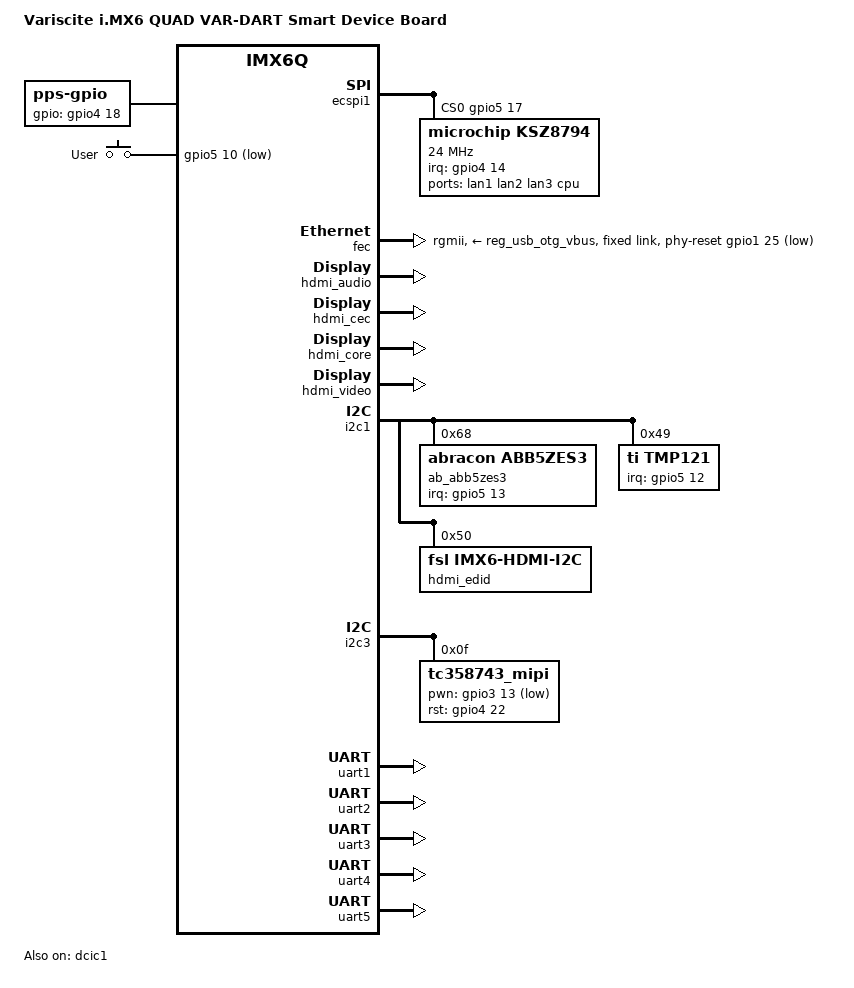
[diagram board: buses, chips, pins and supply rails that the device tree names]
/*
 * Copyright (C) 2015-2017 Variscite Ltd.
 *
 * This program is free software; you can redistribute it and/or modify
 * it under the terms of the GNU General Public License version 2 as
 * published by the Free Software Foundation.
 */

/dts-v1/;

#include "imx6q.dtsi"
#include "imx6qdl-nightcrawler.dtsi"

/ {
	model = "Variscite i.MX6 QUAD VAR-DART Smart Device Board";
	compatible = "fsl,imx6q-var-dart", "fsl,imx6q";

	sound-hdmi {
		compatible = "fsl,imx6q-audio-hdmi",
		             "fsl,imx-audio-hdmi";
		model = "imx-audio-hdmi";
		hdmi-controller = <&hdmi_audio>;
	};

	pps {
		compatible = "pps-gpio";
		pinctrl-names = "default";
		pinctrl-0 = <&pinctrl_pps>;
		gpios = <&gpio4 18 GPIO_ACTIVE_HIGH>;
		status = "okay";
	};

	mxcfb2 { /* hdmi - available on R0 */
		status = "okay";
	};

        gpio-keys {
                compatible = "gpio-keys";

                /* GPIO_4 */
                user {
                        label = "User";
                        gpios = <&gpio5 10 1>;  /* NB: required for ECSPI1 to function (see issue #3) */
                        linux,code = <BTN_MISC>;
                        gpio-key,wakeup;
                };
        };

};

&iomuxc {
	imx6qdl-var-som-mx6 {
		pinctrl_pps: ppsgrp {
			fsl,pins = <
				MX6QDL_PAD_DI0_PIN2__GPIO4_IO18	0x1b0b1	/* 100K PU, HYS, KEEPER, FAST */
			>;
		};
	};
};

&cpu0 {
	operating-points = <
		/* kHz    uV */
		1200000	1350000
		996000	1250000
		852000	1250000
		792000	1175000
		396000	1175000
	>;
	fsl,soc-operating-points = <
		/* ARM kHz  SOC-PU uV */
		1200000	1275000
		996000	1250000
		852000	1250000
		792000	1250000
		396000	1250000
	>;
};

&dcic1 {
	dcic_id = <0>;
	dcic_mux = "dcic-hdmi";
	status = "okay";
};

&ecspi1 {
	fsl,spi-num-chipselects = <1>;
	cs-gpios = <&gpio5 17 0>;
	pinctrl-names = "default";
	pinctrl-0 = <&pinctrl_ecspi1>;
	status = "okay";

	ksz8794: ksz8794@0 {
		compatible = "microchip,ksz8794";
		reg = <0>;
		spi-max-frequency = <24000000>;
		spi-cpha;
		spi-cpol;
		interrupt-parent = <&gpio4>;
		interrupts = <14 IRQ_TYPE_LEVEL_LOW>;
		status = "okay";

		ports {
			#address-cells = <1>;
			#size-cells = <0>;
			port@0 {
				reg = <0>;
				label = "lan1";
			};
			port@1 {
				reg = <1>;
				label = "lan2";
			};
			port@2 {
				reg = <2>;
				label = "lan3";
			};
			port@3 {
				reg = <3>;
				label = "cpu";
				fixed-link {
					speed = <1000>;
					full-duplex;
				};
			};
		};
	};
};

&fec {
	pinctrl-names = "default";
	pinctrl-0 = <&pinctrl_enet>;
	phy-mode = "rgmii";
	phy-reset-gpios = <&gpio1 25 0>;
	phy-reset-duration = <10>;
	phy-reset-post-delay = <100>;
	phy-supply = <&reg_usb_otg_vbus>;
	fsl,magic-packet;
	status = "okay";

	fixed-link {
		speed = <1000>;
		full-duplex;
	};
};

&hdmi_audio {
	status = "okay";
};

&hdmi_cec {
	pinctrl-names = "default";
	pinctrl-0 = <&pinctrl_hdmi_cec>;
	status = "okay";
};

&hdmi_core {
	ipu_id = <0>;
	disp_id = <0>;
	status = "okay";
};

&hdmi_video {
	fsl,phy_reg_vlev = <0x0294>;
	fsl,phy_reg_cksymtx = <0x800d>;
	status = "okay";
};

&i2c1 {
	ab_abb5zes3: ab-abb5zes3@68 {
		compatible = "abracon,abb5zes3";
		interrupt-parent = <&gpio5>;
		interrupts = <13 IRQ_TYPE_EDGE_FALLING>;
		pinctrl-0 = <&pmx_rtc_alarm_int>;
		pinctrl-names = "default";
		reg = <0x68>;
	};

	tmp121@0x49 {
		compatible = "ti,tmp121";
		reg = <0x49>;
		interrupt-parent = <&gpio5>;
		interrupts = <12 IRQ_TYPE_EDGE_RISING>;
		pinctrl-0 = <&pmx_temp_alarm_int>;
	};

	hdmi_edid: edid@50 {
		compatible = "fsl,imx6-hdmi-i2c";
		reg = <0x50>;
	};
};

&i2c3 {
	tc358743_mipi: tc358743_mipi@0f {
		compatible = "tc358743_mipi";
		reg = <0x0f>;
		clocks = <&clks IMX6QDL_CLK_CKO2>;
		clock-names = "csi_mclk";
		pwn-gpios = <&gpio3 13 1>;
		rst-gpios = <&gpio4 22 0>;
		csi_id = <0>;
		mclk = <27000000>;
		mclk_source = <0>;
	};
};

&ldb {
	lvds-channel@0 {
		crtc = "ipu2-di0";
	};

	lvds-channel@1 {
		crtc = "ipu2-di1";
	};
};

&sata {
	status = "disabled";
};

/* ttymxc0 UART (Console) */
&uart1 {
	pinctrl-names = "default";
	pinctrl-0 = <&pinctrl_uart1_1>;
	fsl,uart-has-rtscts;
	status = "okay";
};

/* ttymxc1 UART (Bluetooth) */
&uart2 {
	pinctrl-names = "default";
	pinctrl-0 = <&pinctrl_uart2_3>;
	status = "okay";
};

/* ttymxc2 UART (Micro) */
&uart3 {
	pinctrl-names = "default";
	pinctrl-0 = <&pinctrl_uart3_1>;
	status = "okay";
};

/* ttymxc3 UART (Pixhawk) */
&uart4 {
	pinctrl-names = "default";
	pinctrl-0 = <&pinctrl_uart4_1>;
	status = "okay";
};

/* ttymxc4 UART (Iridium) */
&uart5 {
	pinctrl-names = "default";
	pinctrl-0 = <&pinctrl_uart5_1>;
	status = "okay";
};
